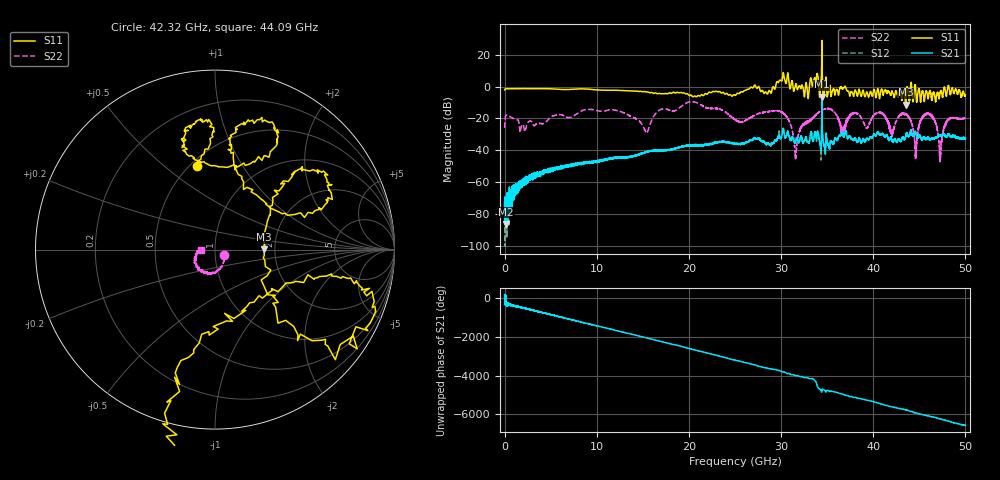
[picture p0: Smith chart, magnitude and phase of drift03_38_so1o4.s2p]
!Created with skrf (http://scikit-rf.org).
# Hz S RI R 50.0
!freq ReS11 ImS11 ReS21 ImS21 ReS12 ImS12 ReS22 ImS22
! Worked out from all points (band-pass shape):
!   10000 points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, 5.3 MHz to 50 GHz, reference 50 ohm
!   highest |S21| = -6.42 dB at 34.43 GHz (marker M1); lowest = -86.1 dB at 160.3 MHz (marker M2)
!   |S21| within 3 dB of the highest: 34.42746 GHz to 34.4351 GHz (7.645 MHz wide, 0.0222 % of centre)
!   lowest |S11| = -11.3 dB at 43.52 GHz (marker M3), VSWR 1.74, Z = 87.2 + j0.49 ohm
!   |S11| at or under -10 dB: 43.49116 GHz to 43.54297 GHz (51.81 MHz wide, 0.119 % of centre); 43.55257 GHz to 43.55563 GHz (3.06 MHz wide, 0.00703 % of centre)
!   |S22| runs from -47.1 to -9.4 dB; largest |S21 - S12| = 0.14
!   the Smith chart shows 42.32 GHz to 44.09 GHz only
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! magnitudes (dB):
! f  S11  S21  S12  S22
! 5.3 MHz  -2.1  -80.4  -76.1  -25.9
! 160.3 MHz  -1.4  -86.1  -72.0  -18.1
! 2.785 GHz  -1.4  -57.5  -57.2  -21.6
! 8.34 GHz  -1.5  -48.9  -48.1  -15.3
! 15.39 GHz  -3.5  -40.8  -40.8  -28.9
! 16.67 GHz  -4.4  -40.0  -40.1  -15.3
! 20.45 GHz  -6.5  -37.3  -36.5  -9.5
! 25.01 GHz  -5.5  -35.9  -36.0  -20.8
! 29.96 GHz  3.9  -32.6  -32.2  -15.7
! 31.6 GHz  1.5  -33.5  -34.0  -43.9
! 33.34 GHz  2.6  -30.2  -30.5  -20.2
! 34.43 GHz  28.8  -6.4  -8.3  -14.6
! 36.69 GHz  -1.4  -29.7  -29.6  -27.8
! 37.95 GHz  -3.9  -32.7  -32.7  -16.4
! 41.67 GHz  -3.0  -33.2  -33.3  -23.3
! 43.52 GHz  -11.3  -31.1  -31.5  -17.3
! 44.61 GHz  -1.4  -29.0  -29.2  -42.7
! 45.31 GHz  -3.2  -33.2  -33.1  -19.7
! 46.24 GHz  -4.1  -32.8  -33.1  -18.1
! 47.29 GHz  -3.1  -30.7  -30.8  -44.9
! 48.12 GHz  0.2  -30.0  -30.1  -20.9
! 50 GHz  -5.2  -32.4  -32.3  -19.7
